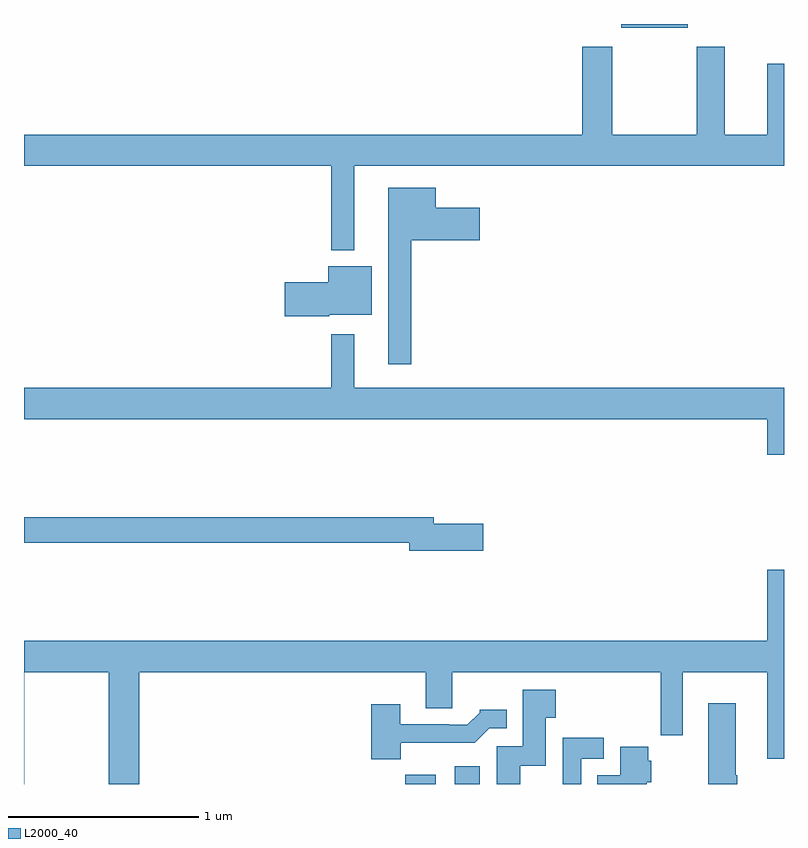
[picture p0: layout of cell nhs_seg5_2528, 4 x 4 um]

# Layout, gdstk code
import gdstk
lib = gdstk.Library(unit=1e-6, precision=1e-09)
def R(c, l, rs):  # rectangles x0, y0, x1, y1
    for r in rs: c.add(gdstk.rectangle(r[:2], r[2:], *l))
def P(c, l, *ps):  # polygons
    for p in ps: c.add(gdstk.Polygon(p, *l))
L2000_40 = (2000, 40)

nhs_seg5_2528 = lib.new_cell('nhs_seg5_2528')
R(nhs_seg5_2528, L2000_40, [(259.006,894.799,259.168,894.847), (259.268,894.799,259.399,894.892), (260.144,898.778,260.494,898.799)])
P(nhs_seg5_2528, L2000_40, [(258.739,898.052),(261,898.052),(261,898.591),(260.912,898.591),(260.912,898.216),(260.689,898.216),(260.689,898.678),(260.541,898.678),(260.541,898.216),(260.097,898.216),(260.097,898.678),(259.937,898.678),(259.937,898.216),(257,898.216),(257,898.052),(258.618,898.052),(258.618,897.608),(258.739,897.608)],
  [(259.039,897.662),(259.399,897.662),(259.399,897.832),(259.168,897.832),(259.168,897.937),(258.917,897.937),(258.917,897.009),(259.039,897.009)],
  [(258.606,897.269),(258.829,897.269),(258.829,897.523),(258.602,897.523),(258.602,897.44),(258.372,897.44),(258.372,897.262),(258.606,897.262)],
  [(261,896.884),(258.739,896.884),(258.739,897.166),(258.618,897.166),(258.618,896.884),(257,896.884),(257,896.72),(260.912,896.72),(260.912,896.532),(261,896.532)],
  [(259.416,896.168),(259.156,896.168),(259.156,896.204),(257,896.204),(257,896.068),(259.028,896.068),(259.028,896.026),(259.416,896.026)],
  [(257.001,895.388),(257.446,895.388),(257.446,894.799),(257.606,894.799),(257.606,895.388),(259.115,895.388),(259.115,895.198),(259.255,895.198),(259.255,895.388),(260.35,895.388),(260.35,895.056),(260.467,895.056),(260.467,895.388),(260.912,895.388),(260.912,894.933),(261,894.933),(261,895.927),(260.912,895.927),(260.912,895.552),(257,895.552),(257,894.799),(257.001,894.799)],
  [(259.612,894.896),(259.747,894.896),(259.747,895.147),(259.799,895.147),(259.799,895.294),(259.625,895.294),(259.625,894.999),(259.487,894.999),(259.487,894.799),(259.612,894.799)],
  [(260.754,894.845),(260.746,894.845),(260.746,895.225),(260.6,895.225),(260.6,894.799),(260.754,894.799)],
  [(258.982,895.016),(259.373,895.016),(259.449,895.092),(259.54,895.092),(259.54,895.189),(259.398,895.189),(259.398,895.174),(259.334,895.11),(259.235,895.11),(259.235,895.113),(258.979,895.113),(258.979,895.219),(258.827,895.219),(258.827,894.929),(258.982,894.929)],
  [(259.932,894.933),(260.05,894.933),(260.05,895.042),(259.836,895.042),(259.836,894.799),(259.932,894.799)],
  [(260.278,894.807),(260.302,894.807),(260.302,894.921),(260.286,894.921),(260.286,894.994),(260.138,894.994),(260.138,894.844),(260.017,894.844),(260.017,894.799),(260.278,894.799)])

lib.write_gds('nhs_seg5_2528.gds')
